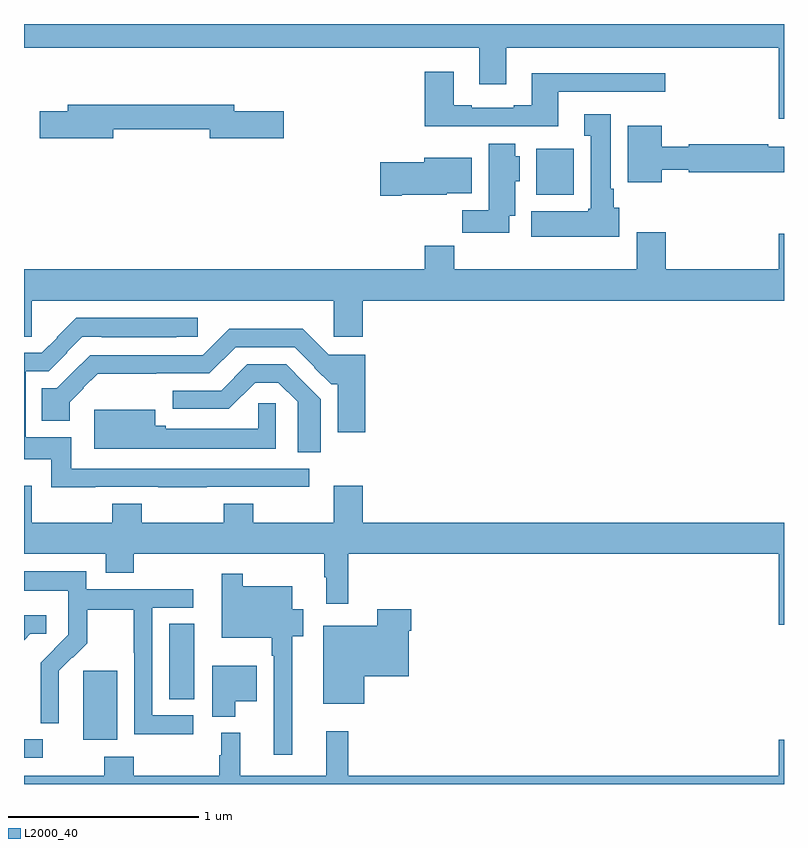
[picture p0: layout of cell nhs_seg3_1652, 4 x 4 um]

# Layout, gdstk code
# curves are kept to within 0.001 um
import gdstk
lib = gdstk.Library(unit=1e-6, precision=1e-09)
def R(c, l, rs):  # rectangles x0, y0, x1, y1
    for r in rs: c.add(gdstk.rectangle(r[:2], r[2:], *l))
def P(c, l, *ps):  # polygons
    for p in ps: c.add(gdstk.Polygon(p, *l))
L2000_40 = (2000, 40)

nhs_seg3_1652 = lib.new_cell('nhs_seg3_1652')
R(nhs_seg3_1652, L2000_40, [(197,670.539,197.098,670.635), (197.312,670.634,197.491,670.995), (197.765,670.846,197.896,671.243), (199.697,673.502,199.894,673.744)])
P(nhs_seg3_1652, L2000_40, [(201,674.4),(197,674.4),(197,674.276),(199.397,674.276),(199.397,674.082),(199.537,674.082),(199.537,674.276),(200.972,674.276),(200.972,673.902),(201,673.902)],
  [(199.353,673.863),(199.813,673.863),(199.813,674.043),(200.374,674.043),(200.374,674.14),(199.673,674.14),(199.673,673.972),(199.577,673.972),(199.577,673.959),(199.357,673.959),(199.357,673.972),(199.261,673.972),(199.261,674.149),(199.109,674.149),(199.109,673.862),(199.353,673.862)],
  [(197.47,673.846),(197.978,673.846),(197.978,673.799),(198.367,673.799),(198.367,673.941),(198.106,673.941),(198.106,673.975),(197.231,673.975),(197.231,673.941),(197.082,673.941),(197.082,673.799),(197.47,673.799)],
  [(200.134,673.434),(200.104,673.434),(200.104,673.534),(200.089,673.534),(200.089,673.924),(199.949,673.924),(199.949,673.811),(199.982,673.811),(199.982,673.428),(199.969,673.428),(199.969,673.414),(199.67,673.414),(199.67,673.28),(200.134,673.28)],
  [(200.356,673.632),(200.499,673.632),(200.499,673.619),(201,673.619),(201,673.753),(200.918,673.753),(200.918,673.766),(200.499,673.766),(200.499,673.753),(200.356,673.753),(200.356,673.864),(200.177,673.864),(200.177,673.568),(200.356,673.568)],
  [(199.555,673.391),(199.585,673.391),(199.585,673.572),(199.609,673.572),(199.609,673.704),(199.585,673.704),(199.585,673.771),(199.445,673.771),(199.445,673.42),(199.306,673.42),(199.306,673.302),(199.555,673.302)],
  [(198.988,673.502),(199.224,673.502),(199.224,673.508),(199.357,673.508),(199.357,673.696),(199.106,673.696),(199.106,673.673),(198.876,673.673),(198.876,673.495),(198.988,673.495)],
  [(198.782,672.944),(201,672.944),(201,673.297),(200.972,673.297),(200.972,673.108),(200.378,673.108),(200.378,673.303),(200.225,673.303),(200.225,673.108),(199.265,673.108),(199.265,673.232),(199.109,673.232),(199.109,673.108),(197,673.108),(197,672.754),(197.04,672.754),(197.04,672.944),(198.631,672.944),(198.631,672.753),(198.782,672.753)],
  [(197.375,671.964),(198.502,671.964),(198.502,672.06),(197.248,672.06),(197.248,672.226),(197.008,672.226),(197.008,672.573),(197.131,672.573),(197.228,672.67),(197.226,672.672),(197.307,672.753),(197.914,672.753),(197.914,672.853),(197.274,672.853),(197.173,672.752),(197.175,672.75),(197.094,672.669),(197,672.669),(197,672.11),(197.144,672.11),(197.144,671.963)],
  [(198.797,672.66),(198.603,672.66),(198.467,672.796),(198.079,672.796),(197.94,672.657),(197.348,672.657),(197.173,672.484),(197.093,672.484),(197.093,672.312),(197.242,672.312),(197.242,672.409),(197.315,672.482),(197.312,672.485),(197.387,672.56),(197.976,672.561),(198.114,672.699),(198.426,672.699),(198.531,672.594),(198.528,672.591),(198.616,672.504),(198.65,672.504),(198.65,672.252),(198.797,672.252)],
  [(198.562,672.425),(198.379,672.609),(198.176,672.609),(198.038,672.471),(197.784,672.471),(197.784,672.375),(198.078,672.375),(198.216,672.513),(198.339,672.513),(198.441,672.412),(198.441,672.145),(198.562,672.145)],
  [(198.326,672.403),(198.232,672.403),(198.232,672.271),(197.745,672.271),(197.745,672.286),(197.692,672.286),(197.692,672.37),(197.37,672.37),(197.37,672.164),(198.326,672.164)],
  [(201,671.776),(198.782,671.776),(198.782,671.971),(198.629,671.971),(198.629,671.776),(198.207,671.776),(198.207,671.875),(198.052,671.875),(198.052,671.776),(197.619,671.776),(197.619,671.875),(197.464,671.875),(197.464,671.776),(197.041,671.776),(197.041,671.971),(197,671.971),(197,671.612),(197.429,671.612),(197.429,671.513),(197.577,671.513),(197.577,671.612),(198.579,671.612),(198.579,671.489),(198.59,671.489),(198.59,671.349),(198.707,671.349),(198.707,671.612),(200.972,671.612),(200.972,671.238),(201,671.238)],
  [(197.89,670.761),(197.676,670.761),(197.676,671.328),(197.89,671.328),(197.89,671.424),(197.328,671.424),(197.328,671.521),(197,671.521),(197,671.417),(197.232,671.417),(197.232,671.283),(197.234,671.283),(197.234,671.186),(197.088,671.038),(197.088,670.72),(197.184,670.72),(197.183,670.997),(197.253,671.067),(197.256,671.064),(197.333,671.141),(197.333,671.316),(197.578,671.316),(197.578,671.092),(197.58,671.092),(197.58,670.663),(197.89,670.663)],
  [(198.412,671.177),(198.469,671.177),(198.469,671.319),(198.412,671.319),(198.412,671.44),(198.151,671.44),(198.151,671.506),(198.042,671.506),(198.042,671.171),(198.303,671.171),(198.303,671.075),(198.315,671.075),(198.315,670.554),(198.412,670.554)],
  [(198.79,670.967),(199.024,670.967),(199.024,671.207),(199.037,671.207),(199.037,671.32),(198.859,671.32),(198.859,671.233),(198.575,671.233),(198.575,670.823),(198.79,670.823)],
  [(197.034,671.19),(197.116,671.19),(197.116,671.287),(197,671.287),(197,671.156)],
  [(198.112,670.835),(198.226,670.835),(198.226,671.023),(197.99,671.023),(197.99,670.754),(198.112,670.754)],
  [(201,670.633),(200.972,670.633),(200.972,670.444),(198.707,670.444),(198.707,670.678),(198.59,670.678),(198.59,670.444),(198.137,670.444),(198.137,670.669),(198.038,670.669),(198.038,670.551),(198.027,670.551),(198.027,670.444),(197.577,670.444),(197.577,670.543),(197.422,670.543),(197.422,670.444),(197,670.444),(197,670.4),(201,670.4)])

lib.write_gds('nhs_seg3_1652.gds')
